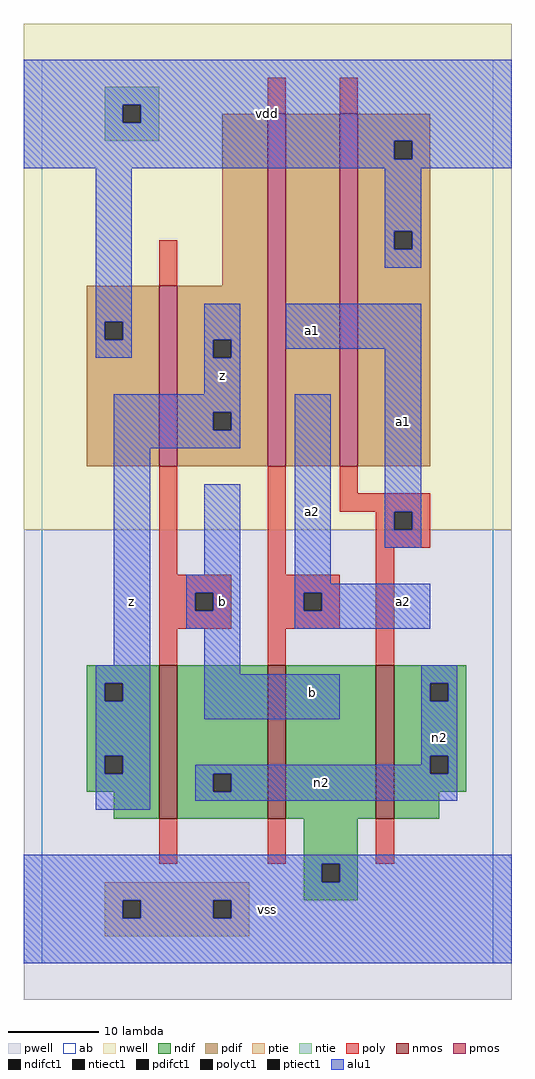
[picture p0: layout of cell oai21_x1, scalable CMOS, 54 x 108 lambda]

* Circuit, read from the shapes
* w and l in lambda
.subckt oai21_x1 a1 a2 b n2 vdd vss z
M1 n2 b z vss nfet w=17 l=2
M2 vss a2 n2 vss nfet w=17 l=2
M3 n2 a1 vss vss nfet w=17 l=2
M4 z b vdd vdd pfet w=20 l=2
M5 n1 a2 z vdd pfet w=39 l=2
M6 vdd a1 n1 vdd pfet w=39 l=2
.ends

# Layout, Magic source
magic
tech scmos
<< ab >>
rect 0 0 50 100
<< nwell >>
rect -2 48 52 104
<< pwell >>
rect -2 -4 52 48
<< poly >>
rect 25 94 27 98
rect 33 94 35 98
rect 13 75 15 80
rect 13 43 15 55
rect 25 43 27 55
rect 33 52 35 55
rect 33 50 43 52
rect 37 48 39 50
rect 41 48 43 50
rect 37 46 43 48
rect 13 41 21 43
rect 13 39 17 41
rect 19 39 21 41
rect 13 37 21 39
rect 25 41 33 43
rect 25 39 29 41
rect 31 39 33 41
rect 25 37 33 39
rect 13 33 15 37
rect 25 33 27 37
rect 37 33 39 46
rect 13 11 15 16
rect 25 11 27 16
rect 37 11 39 16
<< ndif >>
rect 5 31 13 33
rect 5 29 7 31
rect 9 29 13 31
rect 5 23 13 29
rect 5 21 7 23
rect 9 21 13 23
rect 5 19 13 21
rect 8 16 13 19
rect 15 21 25 33
rect 15 19 19 21
rect 21 19 25 21
rect 15 16 25 19
rect 27 16 37 33
rect 39 31 47 33
rect 39 29 43 31
rect 45 29 47 31
rect 39 23 47 29
rect 39 21 43 23
rect 45 21 47 23
rect 39 19 47 21
rect 39 16 44 19
rect 29 11 35 16
rect 29 9 31 11
rect 33 9 35 11
rect 29 7 35 9
<< pdif >>
rect 20 75 25 94
rect 5 71 13 75
rect 5 69 7 71
rect 9 69 13 71
rect 5 55 13 69
rect 15 69 25 75
rect 15 67 19 69
rect 21 67 25 69
rect 15 61 25 67
rect 15 59 19 61
rect 21 59 25 61
rect 15 55 25 59
rect 27 55 33 94
rect 35 91 43 94
rect 35 89 39 91
rect 41 89 43 91
rect 35 81 43 89
rect 35 79 39 81
rect 41 79 43 81
rect 35 55 43 79
<< alu1 >>
rect -2 95 52 100
rect -2 93 9 95
rect 11 93 52 95
rect -2 91 52 93
rect -2 89 39 91
rect 41 89 52 91
rect -2 88 52 89
rect 6 71 10 88
rect 38 81 42 88
rect 38 79 39 81
rect 41 79 42 81
rect 38 77 42 79
rect 6 69 7 71
rect 9 69 10 71
rect 6 67 10 69
rect 18 69 22 73
rect 18 67 19 69
rect 21 67 22 69
rect 27 68 42 73
rect 18 63 22 67
rect 8 61 22 63
rect 8 59 19 61
rect 21 59 22 61
rect 8 57 22 59
rect 8 33 12 57
rect 18 43 22 53
rect 16 41 22 43
rect 16 39 17 41
rect 19 39 22 41
rect 16 37 22 39
rect 28 42 32 63
rect 38 50 42 68
rect 38 48 39 50
rect 41 48 42 50
rect 38 46 42 48
rect 28 41 43 42
rect 28 39 29 41
rect 31 39 43 41
rect 28 37 43 39
rect 6 31 12 33
rect 6 29 7 31
rect 9 29 12 31
rect 6 23 12 29
rect 18 32 22 37
rect 18 27 33 32
rect 42 31 46 33
rect 42 29 43 31
rect 45 29 46 31
rect 6 21 7 23
rect 9 21 12 23
rect 42 23 46 29
rect 42 22 43 23
rect 6 17 12 21
rect 17 21 43 22
rect 45 21 46 23
rect 17 19 19 21
rect 21 19 46 21
rect 17 18 46 19
rect -2 11 52 12
rect -2 9 31 11
rect 33 9 52 11
rect -2 7 52 9
rect -2 5 9 7
rect 11 5 19 7
rect 21 5 52 7
rect -2 0 52 5
<< ptie >>
rect 7 7 23 9
rect 7 5 9 7
rect 11 5 19 7
rect 21 5 23 7
rect 7 3 23 5
<< ntie >>
rect 7 95 13 97
rect 7 93 9 95
rect 11 93 13 95
rect 7 91 13 93
<< nmos >>
rect 13 16 15 33
rect 25 16 27 33
rect 37 16 39 33
<< pmos >>
rect 13 55 15 75
rect 25 55 27 94
rect 33 55 35 94
<< polyct1 >>
rect 39 48 41 50
rect 17 39 19 41
rect 29 39 31 41
<< ndifct1 >>
rect 7 29 9 31
rect 7 21 9 23
rect 19 19 21 21
rect 43 29 45 31
rect 43 21 45 23
rect 31 9 33 11
<< ntiect1 >>
rect 9 93 11 95
<< ptiect1 >>
rect 9 5 11 7
rect 19 5 21 7
<< pdifct1 >>
rect 7 69 9 71
rect 19 67 21 69
rect 19 59 21 61
rect 39 89 41 91
rect 39 79 41 81
<< labels >>
rlabel alu1 10 40 10 40 6 z
rlabel alu1 20 40 20 40 6 b
rlabel alu1 20 65 20 65 6 z
rlabel alu1 25 6 25 6 6 vss
rlabel alu1 30 30 30 30 6 b
rlabel alu1 30 50 30 50 6 a2
rlabel alu1 30 70 30 70 6 a1
rlabel alu1 25 94 25 94 6 vdd
rlabel alu1 31 20 31 20 6 n2
rlabel alu1 44 25 44 25 6 n2
rlabel alu1 40 40 40 40 6 a2
rlabel alu1 40 60 40 60 6 a1
<< end >>
